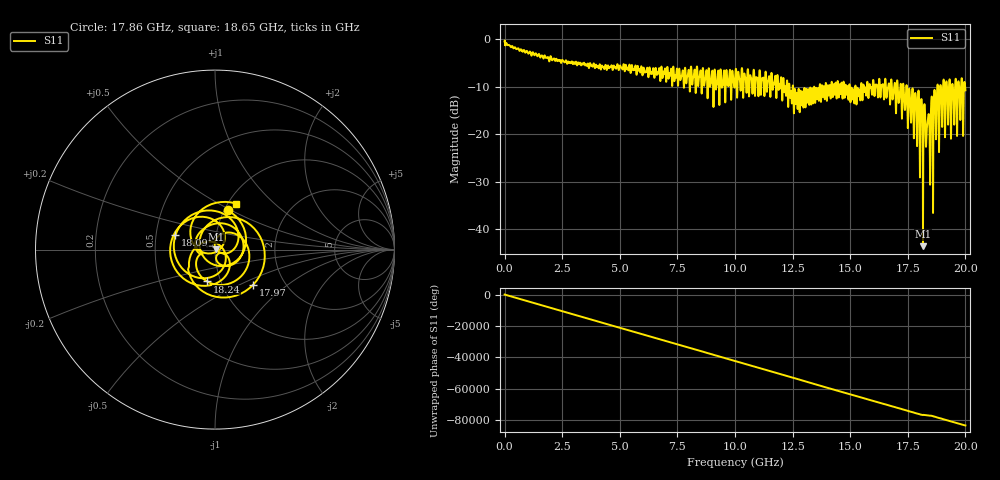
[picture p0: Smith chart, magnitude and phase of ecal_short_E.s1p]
! MS46122B
! 2250307/22442219
! 6/16/2025 12:47:39 PM
! C:\USERS\SPARKY\DOCUMENTS\VNA_DATA\JUNE16_2025\295K\ECAL_SHORT_E.S1P
! CHANNEL.1
! TR.MEASUREMENT
! RAW.DATA
# GHZ S RI R 50.0
! FREQ.GHZ  S11RE  S11IM
!; PortSelection: Port_1
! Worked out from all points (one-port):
!   10001 points, 1 MHz to 20 GHz, reference 50 ohm
!   lowest |S11| = -43.6 dB at 18.16 GHz (marker M1), VSWR 1.01, Z = 50.6 + j0.243 ohm
!   |S11| at or under -10 dB: 12.52 GHz to 13.43 GHz (910 MHz wide, 7.01 % of centre); 14.98 GHz to 15.22 GHz (235.1 MHz wide, 1.56 % of centre); 17.46 GHz to 18.78 GHz (1.321 GHz wide, 7.29 % of centre) (the widest 3 of 80)
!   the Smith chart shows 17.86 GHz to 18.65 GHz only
!   S11 on the Smith chart (normalised r, x): 17.86 GHz: 1.04, +0.48; 17.97 GHz: 1.40, -0.59; 18.09 GHz: 0.63, +0.11; 18.24 GHz: 0.86, -0.32; 18.65 GHz: 1.09, +0.61
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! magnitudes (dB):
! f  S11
! 1 MHz  -0.4
! 2.501 GHz  -4.3
! 5.001 GHz  -5.5
! 7.501 GHz  -7.1
! 10 GHz  -8.9
! 11.66 GHz  -9.3
! 12.5 GHz  -10.1
! 15 GHz  -12.2
! 16.33 GHz  -10.8
! 17.5 GHz  -18.6
! 17.86 GHz  -12.8
! 17.9 GHz  -22.5
! 17.97 GHz  -10.8
! 18.03 GHz  -26.7
! 18.09 GHz  -12.6
! 18.16 GHz  -43.6
! 18.24 GHz  -14.8
! 18.29 GHz  -22.4
! 18.38 GHz  -16.3
! 18.53 GHz  -12.2
! 18.6 GHz  -35.1
! 18.65 GHz  -11.0
! 18.72 GHz  -21.0
! 18.92 GHz  -9.7
! 18.99 GHz  -18.4
! 19.45 GHz  -9.5
! 19.51 GHz  -17.3
! 20 GHz  -10.7
